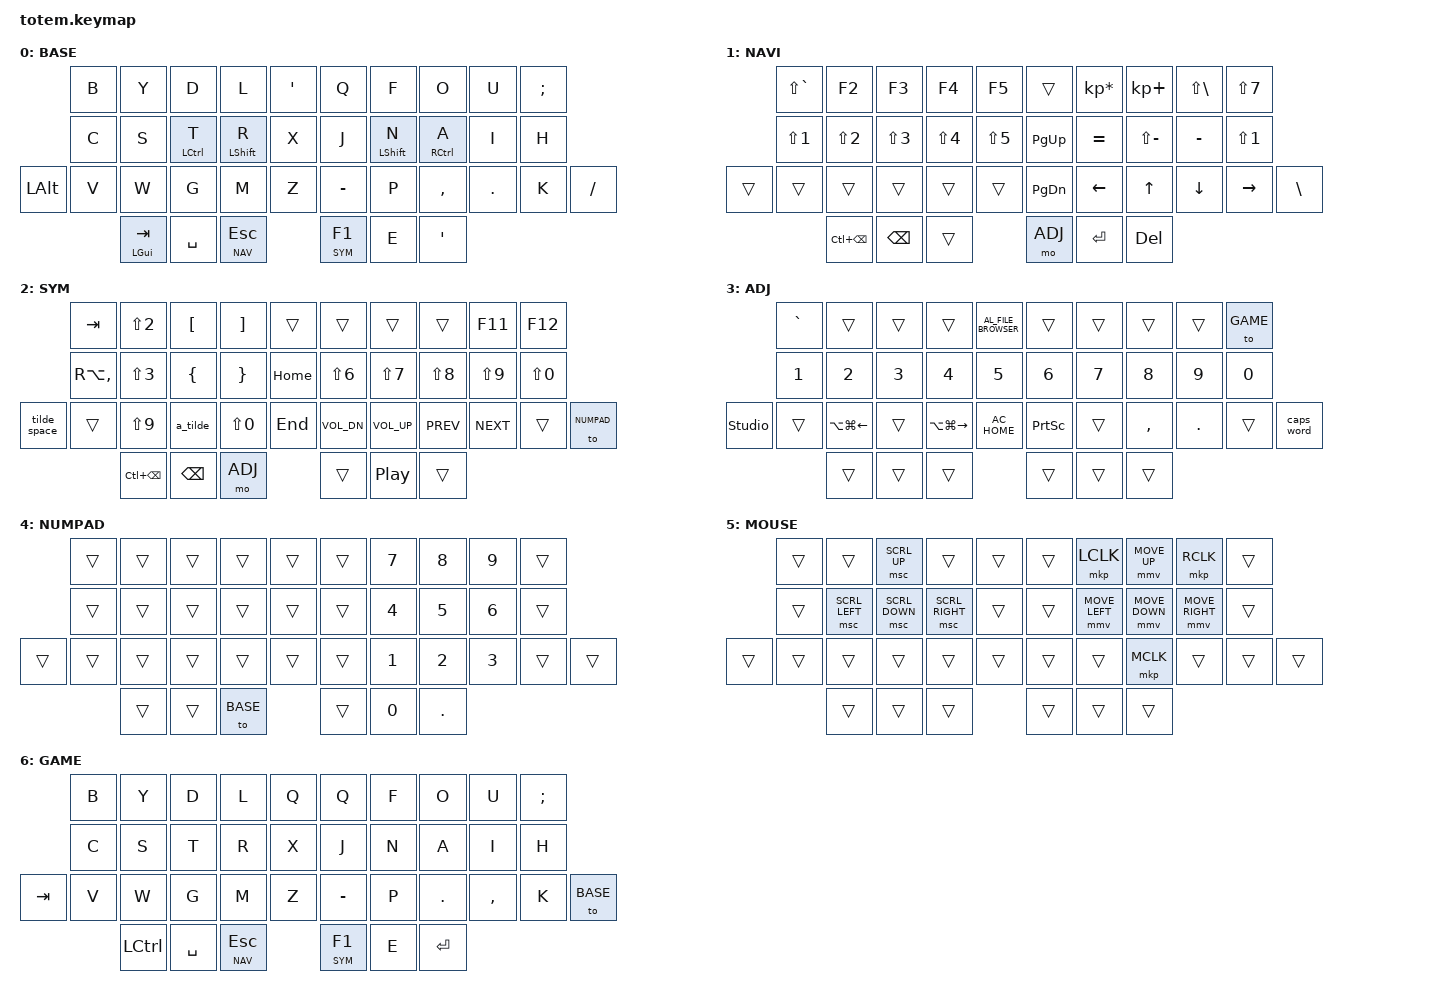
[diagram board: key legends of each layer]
//
//                                                        ▀▀▀▀▀     ▀▀▀▀▀          ▀▀█▀▀
//                                                        ▄▀▀▀▄  ▄  ▄▀▀▀▄  ▄  ▄▀▀▀▄  █  ▄▀▀▀▄
//                                                        █   █  █  █   █  █  █   █  █  █   █
//                                                         ▀▀▀   █   ▀▀▀   █   ▀▀▀   ▀   ▀▀▀
//                                                               █      ▄▄▄█▄▄▄    █   █
//                                                               ▀      █  █  █     █▄█
//                                                             ▀▀▀▀▀    █  █  █      ▀
//                                                                      ▀  ▀  ▀
//
// ▄▄▄▄▄▄▄▄▄▄▄▄▄▄▄▄▄▄▄▄▄▄▄▄▄▄▄▄▄▄▄▄▄▄▄▄▄▄▄▄▄▄▄▄▄▄▄▄▄▄▄▄▄▄▄▄▄▄▄▄▄▄▄▄▄▄▄▄▄▄▄▄▄▄▄▄▄▄▄▄▄▄▄▄▄▄▄▄▄▄▄▄▄▄▄▄▄▄▄▄▄▄▄▄▄▄▄▄▄▄▄▄▄▄▄▄▄▄▄▄▄▄▄▄▄▄▄▄▄▄▄▄▄▄▄▄▄▄▄▄▄▄▄▄▄▄▄▄▄

#include <behaviors.dtsi>
#include <dt-bindings/zmk/bt.h>
#include <dt-bindings/zmk/keys.h>
#include <dt-bindings/zmk/outputs.h>

#define ZMK_POINTING_DEFAULT_MOVE_VAL 1800

#include <dt-bindings/zmk/pointing.h>

#define BASE 0
#define NAV  1
#define SYM  2
#define ADJ  3
#define NUMPAD 4
#define MOUSE 5
#define GAME 6

&mt {
    quick-tap-ms = <100>;
    global-quick-tap;
    flavor = "tap-preferred";
    tapping-term-ms = <180>;
};

&lt {
    tapping-term-ms = <130>;
    flavor = "hold-preferred";
};

/ {
    behaviors {
        hml: home_row_mod_left {
            compatible = "zmk,behavior-hold-tap";
            #binding-cells = <2>;
            flavor = "tap-preferred";
            require-prior-idle-ms = <120>;
            tapping-term-ms = <180>;
            quick-tap-ms = <150>;
            bindings = <&kp>, <&kp>;
            hold-while-undecided;
            hold-trigger-key-positions = <5 6 7 8 9 15 16 17 18 19 26 27 28 29 30 31 34 35 36 37>; // List of keys on the right side of the keyboard
        };
        hmr: home_row_mod_right {
            compatible = "zmk,behavior-hold-tap";
            #binding-cells = <2>;
            flavor = "tap-preferred";
            require-prior-idle-ms = <120>;
            tapping-term-ms = <180>;
            quick-tap-ms = <150>;
            bindings = <&kp>, <&kp>;
            hold-while-undecided;
            hold-trigger-key-positions = <0 1 2 3 4 10 11 12 13 14 20 21 22 23 24 25 32 33 34 35>; // List of keys on the left side of the keyboard
        };
    };

    macros {
        double_quote: double_quote {
            compatible = "zmk,behavior-macro";
            #binding-cells = <0>;
            bindings
                = <&macro_press &kp LSHFT>
                , <&macro_tap &kp DQT &kp SPACE>
                , <&macro_release &kp LSHFT>
                ;
        };

        a_tilde: a_tilde {
            compatible = "zmk,behavior-macro";
            #binding-cells = <0>;
            bindings
                = <&macro_press &kp LSHFT>
                , <&macro_tap &kp GRAVE>
                , <&macro_release &kp LSHFT>
                , <&macro_tap &kp A>
                ;
        };

        tilde_space: tilde_space {
            compatible = "zmk,behavior-macro";
            #binding-cells = <0>;
            bindings
                = <&macro_press &kp LSHFT>
                , <&macro_tap &kp GRAVE>
                , <&macro_release &kp LSHFT>
                , <&macro_tap &kp SPACE>
                ;
        };
    };

    combos {
        compatible = "zmk,combos";

        combo_quote {
          timeout-ms = <50>;
          key-positions = <28 29>;
          bindings = <&double_quote>;
        };

        combo_slash {
          timeout-ms = <50>;
          key-positions = <27 28>;
          bindings = <&kp SLASH>;
        };

        combo_mouse {
          timeout-ms = <50>;
          key-positions = <32 37>;
          bindings = <&mo MOUSE>;
        };
    };

    keymap {
        compatible = "zmk,keymap";

        // ▄▄▄▄▄▄▄▄▄▄▄▄▄▄▄▄▄▄▄▄▄▄▄▄▄▄▄▄▄▄▄▄▄▄▄▄▄▄▄▄▄▄▄▄▄▄▄▄▄▄▄▄▄▄▄▄▄▄▄▄▄▄▄▄▄▄▄▄▄▄▄▄▄▄▄▄▄▄▄▄▄▄▄▄▄▄▄▄▄▄▄▄▄▄▄▄▄▄▄▄▄▄▄▄▄▄▄▄▄▄▄▄▄▄▄▄▄▄▄▄▄▄▄▄▄▄▄▄▄▄▄▄▄▄▄▄▄▄▄▄▄▄▄▄▄▄▄▄▄

        base_layer {
            // ┏━━━━━━━━━━━━━━━━━━━━━━━━━━━━━━━━━━━━━━━┓

            label = "BASE";

            // ┗━━━━━━━━━━━━━━━━━━━━━━━━━━━━━━━━━━━━━━━┛
            //             ┏━━━━━━━━━━━┳━━━━━━━━━━━┳━━━━━━━━━━━┳━━━━━━━━━━━┳━━━━━━━━━━━┓   ┏━━━━━━━━━━━┳━━━━━━━━━━━┳━━━━━━━━━━━┳━━━━━━━━━━━┳━━━━━━━━━━━┓
            //             ┃     Q     ┃     W     ┃     E     ┃     R     ┃     T     ┃   ┃     Y     ┃     U     ┃     I     ┃     O     ┃     P     ┃
            //             ┣━━━━━━━━━━━╋━━━━━━━━━━━╋━━━━━━━━━━━╋━━━━━━━━━━━╋━━━━━━━━━━━┫   ┣━━━━━━━━━━━╋━━━━━━━━━━━╋━━━━━━━━━━━╋━━━━━━━━━━━╋━━━━━━━━━━━┫
            //             ┃     A     ┃     S     ┃     D     ┃     F     ┃     G     ┃   ┃     H     ┃     J     ┃     K     ┃     L     ┃     ;     ┃
            // ┏━━━━━━━━━━━╋━━━━━━━━━━━╋━━━━━━━━━━━╋━━━━━━━━━━━╋━━━━━━━━━━━╋━━━━━━━━━━━┫   ┣━━━━━━━━━━━╋━━━━━━━━━━━╋━━━━━━━━━━━╋━━━━━━━━━━━╋━━━━━━━━━━━╋━━━━━━━━━━━┓
            // ┃     Q     ┃     Z     ┃     X     ┃     C     ┃     V     ┃     B     ┃   ┃     N     ┃     M     ┃     ,     ┃     .     ┃     /     ┃     \     ┃
            // ┗━━━━━━━━━━━┻━━━━━━━━━━━┻━━━━━━━━━━━╋━━━━━━━━━━━╋━━━━━━━━━━━╋━━━━━━━━━━━┫   ┣━━━━━━━━━━━╋━━━━━━━━━━━╋━━━━━━━━━━━╋━━━━━━━━━━━┻━━━━━━━━━━━┻━━━━━━━━━━━┛
            //                                     ┃    DEL    ┃    TAB    ┃    SPC    ┃   ┃   ENTER   ┃           ┃   BSPC    ┃
            //                                     ┗━━━━━━━━━━━┻━━━━━━━━━━━┻━━━━━━━━━━━┛   ┗━━━━━━━━━━━┻━━━━━━━━━━━┻━━━━━━━━━━━┛

            bindings = <
          &kp B  &kp Y  &kp D         &kp L         &kp SQT  &kp Q      &kp F  &kp O  &kp U  &kp SEMICOLON
          &kp C  &kp S  &hml LCTRL T  &hml LSHFT R  &kp X    &kp J      &hmr LSHFT N  &hmr RCTRL A  &kp I     &kp H
&kp LALT  &kp V  &kp W  &kp G         &kp M         &kp Z    &kp MINUS  &kp P         &kp COMMA       &kp DOT &kp K &kp SLASH
                  &mt LGUI TAB &kp SPACE  &lt NAV ESC        &lt SYM F1 &kp E  &kp SQT
            >;
        };

        // ▄▄▄▄▄▄▄▄▄▄▄▄▄▄▄▄▄▄▄▄▄▄▄▄▄▄▄▄▄▄▄▄▄▄▄▄▄▄▄▄▄▄▄▄▄▄▄▄▄▄▄▄▄▄▄▄▄▄▄▄▄▄▄▄▄▄▄▄▄▄▄▄▄▄▄▄▄▄▄▄▄▄▄▄▄▄▄▄▄▄▄▄▄▄▄▄▄▄▄▄▄▄▄▄▄▄▄▄▄▄▄▄▄▄▄▄▄▄▄▄▄▄▄▄▄▄▄▄▄▄▄▄▄▄▄▄▄▄▄▄▄▄▄▄▄▄▄▄▄

        nav_layer {
            // ┏━━━━━━━━━━━━━━━━━━━━━━━━━━━━━━━━━━━━━━━┓

            label = "NAVI";

            // ┗━━━━━━━━━━━━━━━━━━━━━━━━━━━━━━━━━━━━━━━┛
            //             ┏━━━━━━━━━━━┳━━━━━━━━━━━┳━━━━━━━━━━━┳━━━━━━━━━━━┳━━━━━━━━━━━┓   ┏━━━━━━━━━━━┳━━━━━━━━━━━┳━━━━━━━━━━━┳━━━━━━━━━━━┳━━━━━━━━━━━┓
            //             ┃           ┃           ┃     UP    ┃           ┃     {     ┃   ┃     }     ┃     7     ┃     8     ┃     9     ┃     +     ┃
            //             ┣━━━━━━━━━━━╋━━━━━━━━━━━╋━━━━━━━━━━━╋━━━━━━━━━━━╋━━━━━━━━━━━┫   ┣━━━━━━━━━━━╋━━━━━━━━━━━╋━━━━━━━━━━━╋━━━━━━━━━━━╋━━━━━━━━━━━┫
            //             ┃   SHIFT   ┃   LEFT    ┃    DOWN   ┃   RIGHT   ┃     [     ┃   ┃     ]     ┃     4     ┃     5     ┃     6     ┃     -     ┃
            // ┏━━━━━━━━━━━╋━━━━━━━━━━━╋━━━━━━━━━━━╋━━━━━━━━━━━╋━━━━━━━━━━━╋━━━━━━━━━━━┫   ┣━━━━━━━━━━━╋━━━━━━━━━━━╋━━━━━━━━━━━╋━━━━━━━━━━━╋━━━━━━━━━━━╋━━━━━━━━━━━┓
            // ┃           ┃           ┃   P UP    ┃  C LOCK   ┃  P DOWN   ┃     (     ┃   ┃     )     ┃     1     ┃     2     ┃     3     ┃     *     ┃           ┃
            // ┗━━━━━━━━━━━┻━━━━━━━━━━━┻━━━━━━━━━━━╋━━━━━━━━━━━╋━━━━━━━━━━━╋━━━━━━━━━━━┫   ┣━━━━━━━━━━━╋━━━━━━━━━━━╋━━━━━━━━━━━╋━━━━━━━━━━━┻━━━━━━━━━━━┻━━━━━━━━━━━┛
            //                                     ┃           ┃    TAB    ┃    SPC    ┃   ┃    DEL    ┃     0     ┃           ┃
            //                                     ┗━━━━━━━━━━━┻━━━━━━━━━━━┻━━━━━━━━━━━┛   ┗━━━━━━━━━━━┻━━━━━━━━━━━┻━━━━━━━━━━━┛

            bindings = <
        &kp LS(GRAVE)     &kp F2      &kp F3    &kp F4     &kp F5           &trans  &kp KP_ASTERISK  &kp KP_PLUS  &kp LS(BACKSLASH)  &kp LS(N7)
        &kp LS(N1) &kp LS(N2)  &kp LS(N3)  &kp LS(N4)  &kp LS(N5)    &kp PG_UP  &kp EQUAL  &kp LS(MINUS)  &kp MINUS  &kp LS(N1)
&trans  &trans    &trans   &trans  &trans  &trans                   &kp PG_DN  &kp LEFT_ARROW  &kp UP_ARROW  &kp DOWN_ARROW  &kp RIGHT_ARROW  &kp BACKSLASH
                            &kp LC(BACKSPACE) &kp BACKSPACE &trans   &mo ADJ   &kp RET &kp DEL
            >;
        };

        // ▄▄▄▄▄▄▄▄▄▄▄▄▄▄▄▄▄▄▄▄▄▄▄▄▄▄▄▄▄▄▄▄▄▄▄▄▄▄▄▄▄▄▄▄▄▄▄▄▄▄▄▄▄▄▄▄▄▄▄▄▄▄▄▄▄▄▄▄▄▄▄▄▄▄▄▄▄▄▄▄▄▄▄▄▄▄▄▄▄▄▄▄▄▄▄▄▄▄▄▄▄▄▄▄▄▄▄▄▄▄▄▄▄▄▄▄▄▄▄▄▄▄▄▄▄▄▄▄▄▄▄▄▄▄▄▄▄▄▄▄▄▄▄▄▄▄▄▄▄

        sim_layer {
            // ┏━━━━━━━━━━━━━━━━━━━━━━━━━━━━━━━━━━━━━━━┓

            label = "SYM";

            // ┗━━━━━━━━━━━━━━━━━━━━━━━━━━━━━━━━━━━━━━━┛
            //             ┏━━━━━━━━━━━┳━━━━━━━━━━━┳━━━━━━━━━━━┳━━━━━━━━━━━┳━━━━━━━━━━━┓   ┏━━━━━━━━━━━┳━━━━━━━━━━━┳━━━━━━━━━━━┳━━━━━━━━━━━┳━━━━━━━━━━━┓
            //             ┃     !     ┃     @     ┃     #     ┃     $     ┃     %     ┃   ┃     ˆ     ┃     &     ┃     Ü     ┃     '     ┃     "     ┃
            //             ┣━━━━━━━━━━━╋━━━━━━━━━━━╋━━━━━━━━━━━╋━━━━━━━━━━━╋━━━━━━━━━━━┫   ┣━━━━━━━━━━━╋━━━━━━━━━━━╋━━━━━━━━━━━╋━━━━━━━━━━━╋━━━━━━━━━━━┫
            //             ┃     Ä     ┃           ┃    SZ     ┃           ┃           ┃   ┃   MUTE    ┃   YEN     ┃   EURO    ┃  POUND    ┃     Ö     ┃
            // ┏━━━━━━━━━━━╋━━━━━━━━━━━╋━━━━━━━━━━━╋━━━━━━━━━━━╋━━━━━━━━━━━╋━━━━━━━━━━━┫   ┣━━━━━━━━━━━╋━━━━━━━━━━━╋━━━━━━━━━━━╋━━━━━━━━━━━╋━━━━━━━━━━━╋━━━━━━━━━━━┓
            // ┃           ┃  EMAIL1   ┃  EMAIL2   ┃           ┃           ┃           ┃   ┃   VOL-    ┃   VOL+    ┃   LAST    ┃   NEXT    ┃     \     ┃           ┃
            // ┗━━━━━━━━━━━┻━━━━━━━━━━━┻━━━━━━━━━━━╋━━━━━━━━━━━╋━━━━━━━━━━━╋━━━━━━━━━━━┫   ┣━━━━━━━━━━━╋━━━━━━━━━━━╋━━━━━━━━━━━╋━━━━━━━━━━━┻━━━━━━━━━━━┻━━━━━━━━━━━┛
            //                                     ┃           ┃    GIF    ┃    ADJ    ┃   ┃           ┃           ┃           ┃
            //                                     ┗━━━━━━━━━━━┻━━━━━━━━━━━┻━━━━━━━━━━━┛   ┗━━━━━━━━━━━┻━━━━━━━━━━━┻━━━━━━━━━━━┛

            bindings = <
        &kp TAB    &kp LS(N2)   &kp LBKT  &kp RBKT  &trans         &trans     &trans      &trans   &kp F11     &kp F12
        &kp RA(COMMA)   &kp LS(N3)   &kp LBRC  &kp RBRC &kp HOME   &kp LS(N6)   &kp LS(N7)  &kp LS(N8)  &kp LS(N9)  &kp LS(N0)
&tilde_space  &trans  &kp LS(N9)  &a_tilde   &kp LS(N0)    &kp END       &kp C_VOL_DN  &kp C_VOL_UP    &kp C_PREV  &kp C_NEXT  &trans &to NUMPAD
                                  &kp LC(BACKSPACE) &kp BACKSPACE  &mo ADJ      &trans        &kp C_PP        &trans
            >;
        };

        // ▄▄▄▄▄▄▄▄▄▄▄▄▄▄▄▄▄▄▄▄▄▄▄▄▄▄▄▄▄▄▄▄▄▄▄▄▄▄▄▄▄▄▄▄▄▄▄▄▄▄▄▄▄▄▄▄▄▄▄▄▄▄▄▄▄▄▄▄▄▄▄▄▄▄▄▄▄▄▄▄▄▄▄▄▄▄▄▄▄▄▄▄▄▄▄▄▄▄▄▄▄▄▄▄▄▄▄▄▄▄▄▄▄▄▄▄▄▄▄▄▄▄▄▄▄▄▄▄▄▄▄▄▄▄▄▄▄▄▄▄▄▄▄▄▄▄▄▄▄

        adjust_layer {
            // ┏━━━━━━━━━━━━━━━━━━━━━━━━━━━━━━━━━━━━━━━┓

            label = "ADJ";

            // ┗━━━━━━━━━━━━━━━━━━━━━━━━━━━━━━━━━━━━━━━┛
            //             ┏━━━━━━━━━━━┳━━━━━━━━━━━┳━━━━━━━━━━━┳━━━━━━━━━━━┳━━━━━━━━━━━┓   ┏━━━━━━━━━━━┳━━━━━━━━━━━┳━━━━━━━━━━━┳━━━━━━━━━━━┳━━━━━━━━━━━┓
            //             ┃   RESET   ┃ BT CLEAR  ┃  OUT TOG  ┃           ┃           ┃   ┃           ┃    F7     ┃    F8     ┃    F9     ┃    F12    ┃
            //             ┣━━━━━━━━━━━╋━━━━━━━━━━━╋━━━━━━━━━━━╋━━━━━━━━━━━╋━━━━━━━━━━━┫   ┣━━━━━━━━━━━╋━━━━━━━━━━━╋━━━━━━━━━━━╋━━━━━━━━━━━╋━━━━━━━━━━━┫
            //             ┃ BOOTLOAD  ┃ BT NEXT   ┃           ┃           ┃           ┃   ┃           ┃    F4     ┃    F5     ┃    F6     ┃    F11    ┃
            // ┏━━━━━━━━━━━╋━━━━━━━━━━━╋━━━━━━━━━━━╋━━━━━━━━━━━╋━━━━━━━━━━━╋━━━━━━━━━━━┫   ┣━━━━━━━━━━━╋━━━━━━━━━━━╋━━━━━━━━━━━╋━━━━━━━━━━━╋━━━━━━━━━━━╋━━━━━━━━━━━┓
            // STUDIO_UNLOCK           ┃ BT PREV   ┃           ┃           ┃           ┃   ┃           ┃    F1     ┃    F2     ┃    F3     ┃    F10    ┃           ┃
            // ┗━━━━━━━━━━━┻━━━━━━━━━━━┻━━━━━━━━━━━╋━━━━━━━━━━━╋━━━━━━━━━━━╋━━━━━━━━━━━┫   ┣━━━━━━━━━━━╋━━━━━━━━━━━╋━━━━━━━━━━━╋━━━━━━━━━━━┻━━━━━━━━━━━┻━━━━━━━━━━━┛
            //                                     ┃           ┃           ┃           ┃   ┃           ┃           ┃           ┃
            //                                     ┗━━━━━━━━━━━┻━━━━━━━━━━━┻━━━━━━━━━━━┛   ┗━━━━━━━━━━━┻━━━━━━━━━━━┻━━━━━━━━━━━┛

            bindings = <
                &kp GRAVE &trans  &trans  &trans  &kp C_AL_FILE_BROWSER    &trans  &trans &trans &trans  &to GAME
                &kp N1  &kp N2  &kp N3  &kp N4  &kp N5           &kp N6  &kp N7  &kp N8 &kp N9 &kp N0
&studio_unlock  &trans  &kp LA(LG(LEFT_ARROW))  &trans  &kp LA(LG(RIGHT_ARROW))  &kp C_AC_HOME    &kp PRINTSCREEN  &trans &kp COMMA &kp DOT &trans  &caps_word
                                        &trans        &trans  &trans    &trans  &trans  &trans
            >;
        };

        numpad_layer {
          label = "NUMPAD";
          bindings = <
          &trans  &trans  &trans &trans  &trans    &trans  &kp N7  &kp N8 &kp N9  &trans
          &trans  &trans  &trans &trans  &trans    &trans  &kp N4  &kp N5 &kp N6  &trans
  &trans  &trans  &trans  &trans &trans  &trans    &trans  &kp N1  &kp N2 &kp N3  &trans  &trans
                                &trans  &trans  &to BASE    &trans  &kp N0  &kp PERIOD
            >;
        };

        mouse_layer {
          label = "MOUSE";
          bindings = <
          &trans  &trans         &msc SCRL_UP    &trans           &trans    &trans  &mkp LCLK &mmv MOVE_UP &mkp RCLK  &trans
          &trans  &msc SCRL_LEFT &msc SCRL_DOWN  &msc SCRL_RIGHT  &trans    &trans  &mmv MOVE_LEFT &mmv MOVE_DOWN &mmv MOVE_RIGHT  &trans
  &trans  &trans  &trans         &trans          &trans           &trans    &trans  &trans  &mkp MCLK &trans  &trans  &trans
                                 &trans  &trans  &trans           &trans    &trans  &trans
            >;
        };

        game_layer {
            label = "GAME";
            bindings = <
        &kp B  &kp Y  &kp D  &kp L     &kp Q      &kp Q      &kp F  &kp O   &kp U     &kp SEMICOLON
        &kp C  &kp S  &kp T  &kp R     &kp X        &kp J      &kp N  &kp A   &kp I     &kp H
&kp TAB &kp V  &kp W  &kp G  &kp M     &kp Z        &kp MINUS  &kp P  &kp DOT &kp COMMA &kp K &to BASE
                  &kp LCTRL  &kp SPACE &lt NAV ESC  &lt SYM F1 &kp E  &kp RET
            >;
        };
    };
};
